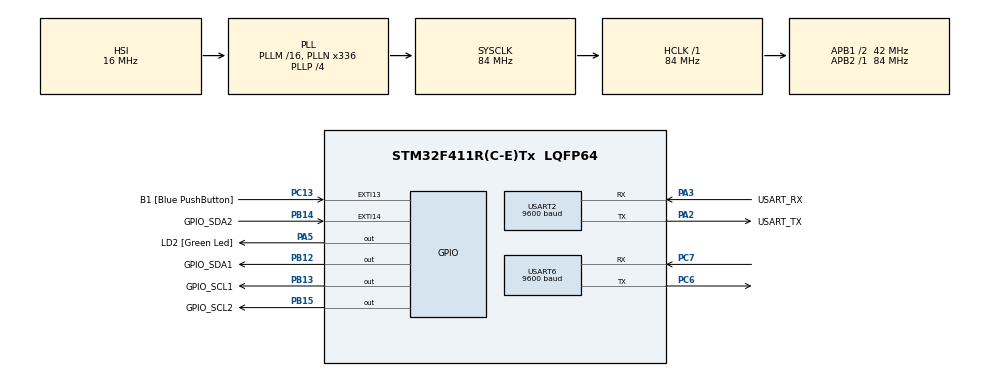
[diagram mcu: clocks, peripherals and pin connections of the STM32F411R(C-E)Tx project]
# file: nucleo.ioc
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Mcu.Family=STM32F4
Mcu.Name=STM32F411R(C-E)Tx
Mcu.Package=LQFP64
NVIC.PriorityGroup=NVIC_PRIORITYGROUP_0
NVIC.TIM1_BRK_TIM9_IRQn=true\:0\:0\:false\:true\:true\:6\:true\:true\:true
NVIC.TIM1_CC_IRQn=true\:0\:0\:false\:true\:true\:3\:true\:true\:true
NVIC.TIM1_TRG_COM_TIM11_IRQn=true\:0\:0\:false\:true\:true\:4\:true\:true\:true
NVIC.TIM1_UP_TIM10_IRQn=true\:0\:0\:false\:true\:true\:5\:true\:true\:true
NVIC.USART2_IRQn=true\:0\:0\:false\:true\:true\:1\:true\:true\:true
NVIC.USART6_IRQn=true\:0\:0\:false\:true\:true\:2\:true\:true\:true
PA13.GPIO_Label=TMS
PA13.Mode=Serial_Wire
PA13.Signal=SYS_JTMS-SWDIO
PA14.GPIO_Label=TCK
PA14.Mode=Serial_Wire
PA14.Signal=SYS_JTCK-SWCLK
PA2.GPIO_Label=USART_TX
PA2.Mode=Asynchronous
PA2.Signal=USART2_TX
PA3.GPIO_Label=USART_RX
PA3.Mode=Asynchronous
PA3.Signal=USART2_RX
PA5.GPIO_Label=LD2 [Green Led]
PA5.Signal=GPIO_Output
PB12.GPIO_Label=GPIO_SDA1
PB12.Signal=GPIO_Output
PB13.GPIO_Label=GPIO_SCL1
PB13.Signal=GPIO_Output
PB14.GPIO_Label=GPIO_SDA2
PB14.Signal=GPXTI14
PB15.GPIO_Label=GPIO_SCL2
PB15.Signal=GPIO_Output
PB3.GPIO_Label=SWO
PB3.Signal=SYS_JTDO-SWO
PC13-ANTI_TAMP.GPIO_Label=B1 [Blue PushButton]
PC13-ANTI_TAMP.GPIO_ModeDefaultEXTI=GPIO_MODE_IT_FALLING
PC13-ANTI_TAMP.Signal=GPXTI13
PC14-OSC32_IN.Mode=LSE-External-Oscillator
PC14-OSC32_IN.Signal=RCC_OSC32_IN
PC15-OSC32_OUT.Mode=LSE-External-Oscillator
PC15-OSC32_OUT.Signal=RCC_OSC32_OUT
PC6.Mode=Asynchronous
PC6.Signal=USART6_TX
PC7.Mode=Asynchronous
PC7.Signal=USART6_RX
PH0\ -\ OSC_IN.Mode=HSE-External-Clock-Source
PH0\ -\ OSC_IN.Signal=RCC_OSC_IN
PH1\ -\ OSC_OUT.Mode=HSE-External-Clock-Source
PH1\ -\ OSC_OUT.Signal=RCC_OSC_OUT
ProjectManager.HeapSize=0x200
ProjectManager.StackSize=0x400
ProjectManager.TargetToolchain=STM32CubeIDE
RCC.48MHZClocksFreq_Value=84000000
RCC.AHBFreq_Value=84000000
RCC.APB1CLKDivider=RCC_HCLK_DIV2
RCC.APB1Freq_Value=42000000
RCC.APB1TimFreq_Value=84000000
RCC.APB2Freq_Value=84000000
RCC.APB2TimFreq_Value=84000000
RCC.CortexFreq_Value=84000000
RCC.FLatency-AdvancedSettings=FLASH_LATENCY_2
RCC.HCLKFreq_Value=84000000
RCC.HSE_VALUE=8000000
RCC.HSI_VALUE=16000000
RCC.PLLN=336
RCC.PLLP=RCC_PLLP_DIV4
RCC.SYSCLKFreq_VALUE=84000000
RCC.SYSCLKSource=RCC_SYSCLKSOURCE_PLLCLK
RCC.VCOOutputFreq_Value=336000000
TIM1.Period=100-1
TIM1.Prescaler=840-1
USART2.BaudRate=9600
USART2.VirtualMode=VM_ASYNC
USART6.BaudRate=9600
USART6.VirtualMode=VM_ASYNC
VP_TIM1_VS_ClockSourceINT.Mode=Internal
board=NUCLEO-F411RE

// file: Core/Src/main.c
/* USER CODE BEGIN Header */
/**
  ******************************************************************************
  * @file           : main.c
  * @brief          : Main program body
  ******************************************************************************
  * @attention
  *
  * <h2><center>&copy; Copyright (c) 2022 STMicroelectronics.
  * All rights reserved.</center></h2>
  *
  * This software component is licensed by ST under BSD 3-Clause license,
  * the "License"; You may not use this file except in compliance with the
  * License. You may obtain a copy of the License at:
  *                        opensource.org/licenses/BSD-3-Clause
  *
  ******************************************************************************
  */
/* USER CODE END Header */
#include "main.h"

/* USER CODE BEGIN Includes */
#include "Modbus.h"
#include "CoilReg_Table.h"
/* USER CODE END Includes */

TIM_HandleTypeDef htim1;

UART_HandleTypeDef huart2;
UART_HandleTypeDef huart6;

void SystemClock_Config(void);
static void MX_GPIO_Init(void);
static void MX_TIM1_Init(void);
static void MX_USART6_UART_Init(void);
static void MX_USART2_UART_Init(void);
static void MX_NVIC_Init(void);
/* USER CODE BEGIN PFP */
extern uint8_t RX_Data;
/* USER CODE END PFP */

/* USER CODE BEGIN 0 */
/*prinf-----------------------------------------------------------------------*/
#ifdef __GNUC__
/* With GCC, small printf (option LD Linker->Libraries->Small printf
   set to 'Yes') calls __io_putchar() */
#define PUTCHAR_PROTOTYPE int __io_putchar(int ch)
#else
#define PUTCHAR_PROTOTYPE int fputc(int ch, FILE *f)
#endif /* __GNUC__ */
PUTCHAR_PROTOTYPE
{
  /* Place your implementation of fputc here */
  /* e.g. write a character to the USART3 and Loop until the end of transmission */
  HAL_UART_Transmit(&huart2, (uint8_t *)&ch, 1, 0xFFFF);

  return ch;

}

/* USER CODE END 0 */

int main(void)
{

  /* MCU Configuration--------------------------------------------------------*/

  /* Reset of all peripherals, Initializes the Flash interface and the Systick. */
  HAL_Init();

  /* Configure the system clock */
  SystemClock_Config();

  /* Initialize all configured peripherals */
  MX_GPIO_Init();
  MX_TIM1_Init();
  MX_USART6_UART_Init();
  MX_USART2_UART_Init();

  /* Initialize interrupts */
  MX_NVIC_Init();
  /* USER CODE BEGIN 2 */
  HAL_UART_Receive_IT(&huart2, &RX_Data, 1);
  SW_I2C_initial();
  i2c_port_initial(2);
  //MPU6050_Init(2);
//  HAL_Delay(500);

  printf("UART2!!\n");
  /* USER CODE END 2 */

  /* Infinite loop */
  /* USER CODE BEGIN WHILE */
  while (1)
  {
	 uint8_t sel = 2U;
	 uint8_t dev_addr = GYRO_DEV;
	 uint8_t reg = 0x3B;
	 uint8_t returnack = 0U;

    /* USER CODE END WHILE */
	  //ReadI2C(2);
	 MPU6050_Read_Accel(sel, GYRO_DEV);

	 //SW_I2C_WriteControl_8Bit_OnlyRegAddr(2, dev_addr|0x00, reg);

//	 i2c_start_condition(sel);
//
//	 SW_I2C_Write_Data(sel,(uint8_t)dev_addr|0x00);
//	 if (!i2c_check_ack(sel))
//	 {
//		 printf("NOT ACK\n");
//		 returnack = FALSE;
//	 }
//
//	 SW_I2C_Write_Data(sel,(uint8_t)reg);
//
//	 if (!i2c_check_ack(sel))
//	 {
//		 printf("NOT ACK\n");
//		 returnack = FALSE;
//	 }
//
//	 i2c_stop_condition(sel);
//
	 HAL_Delay(500);
  }
}

void SystemClock_Config(void)
{
  RCC_OscInitTypeDef RCC_OscInitStruct = {0};
  RCC_ClkInitTypeDef RCC_ClkInitStruct = {0};

  /** Configure the main internal regulator output voltage
  */
  __HAL_RCC_PWR_CLK_ENABLE();
  __HAL_PWR_VOLTAGESCALING_CONFIG(PWR_REGULATOR_VOLTAGE_SCALE1);
  /** Initializes the RCC Oscillators according to the specified parameters
  * in the RCC_OscInitTypeDef structure.
  */
  RCC_OscInitStruct.OscillatorType = RCC_OSCILLATORTYPE_HSI;
  RCC_OscInitStruct.HSIState = RCC_HSI_ON;
  RCC_OscInitStruct.HSICalibrationValue = RCC_HSICALIBRATION_DEFAULT;
  RCC_OscInitStruct.PLL.PLLState = RCC_PLL_ON;
  RCC_OscInitStruct.PLL.PLLSource = RCC_PLLSOURCE_HSI;
  RCC_OscInitStruct.PLL.PLLM = 16;
  RCC_OscInitStruct.PLL.PLLN = 336;
  RCC_OscInitStruct.PLL.PLLP = RCC_PLLP_DIV4;
  RCC_OscInitStruct.PLL.PLLQ = 4;
  if (HAL_RCC_OscConfig(&RCC_OscInitStruct) != HAL_OK)
  {
    Error_Handler();
  }
  /** Initializes the CPU, AHB and APB buses clocks
  */
  RCC_ClkInitStruct.ClockType = RCC_CLOCKTYPE_HCLK|RCC_CLOCKTYPE_SYSCLK
                              |RCC_CLOCKTYPE_PCLK1|RCC_CLOCKTYPE_PCLK2;
  RCC_ClkInitStruct.SYSCLKSource = RCC_SYSCLKSOURCE_PLLCLK;
  RCC_ClkInitStruct.AHBCLKDivider = RCC_SYSCLK_DIV1;
  RCC_ClkInitStruct.APB1CLKDivider = RCC_HCLK_DIV2;
  RCC_ClkInitStruct.APB2CLKDivider = RCC_HCLK_DIV1;

  if (HAL_RCC_ClockConfig(&RCC_ClkInitStruct, FLASH_LATENCY_2) != HAL_OK)
  {
    Error_Handler();
  }
}

/**
  * @brief NVIC Configuration.
  * @retval None
  */
static void MX_NVIC_Init(void)
{
  /* USART2_IRQn interrupt configuration */
  HAL_NVIC_SetPriority(USART2_IRQn, 0, 0);
  HAL_NVIC_EnableIRQ(USART2_IRQn);
  /* USART6_IRQn interrupt configuration */
  HAL_NVIC_SetPriority(USART6_IRQn, 0, 0);
  HAL_NVIC_EnableIRQ(USART6_IRQn);
  /* TIM1_CC_IRQn interrupt configuration */
  HAL_NVIC_SetPriority(TIM1_CC_IRQn, 0, 0);
  HAL_NVIC_EnableIRQ(TIM1_CC_IRQn);
  /* TIM1_TRG_COM_TIM11_IRQn interrupt configuration */
  HAL_NVIC_SetPriority(TIM1_TRG_COM_TIM11_IRQn, 0, 0);
  HAL_NVIC_EnableIRQ(TIM1_TRG_COM_TIM11_IRQn);
  /* TIM1_UP_TIM10_IRQn interrupt configuration */
  HAL_NVIC_SetPriority(TIM1_UP_TIM10_IRQn, 0, 0);
  HAL_NVIC_EnableIRQ(TIM1_UP_TIM10_IRQn);
  /* TIM1_BRK_TIM9_IRQn interrupt configuration */
  HAL_NVIC_SetPriority(TIM1_BRK_TIM9_IRQn, 0, 0);
  HAL_NVIC_EnableIRQ(TIM1_BRK_TIM9_IRQn);
}

static void MX_TIM1_Init(void)
{

  TIM_ClockConfigTypeDef sClockSourceConfig = {0};
  TIM_MasterConfigTypeDef sMasterConfig = {0};

  htim1.Instance = TIM1;
  htim1.Init.Prescaler = 840-1;
  htim1.Init.CounterMode = TIM_COUNTERMODE_UP;
  htim1.Init.Period = 100-1;
  htim1.Init.ClockDivision = TIM_CLOCKDIVISION_DIV1;
  htim1.Init.RepetitionCounter = 0;
  htim1.Init.AutoReloadPreload = TIM_AUTORELOAD_PRELOAD_DISABLE;
  if (HAL_TIM_Base_Init(&htim1) != HAL_OK)
  {
    Error_Handler();
  }
  sClockSourceConfig.ClockSource = TIM_CLOCKSOURCE_INTERNAL;
  if (HAL_TIM_ConfigClockSource(&htim1, &sClockSourceConfig) != HAL_OK)
  {
    Error_Handler();
  }
  sMasterConfig.MasterOutputTrigger = TIM_TRGO_RESET;
  sMasterConfig.MasterSlaveMode = TIM_MASTERSLAVEMODE_DISABLE;
  if (HAL_TIMEx_MasterConfigSynchronization(&htim1, &sMasterConfig) != HAL_OK)
  {
    Error_Handler();
  }

}

static void MX_USART2_UART_Init(void)
{

  huart2.Instance = USART2;
  huart2.Init.BaudRate = 9600;
  huart2.Init.WordLength = UART_WORDLENGTH_8B;
  huart2.Init.StopBits = UART_STOPBITS_1;
  huart2.Init.Parity = UART_PARITY_NONE;
  huart2.Init.Mode = UART_MODE_TX_RX;
  huart2.Init.HwFlowCtl = UART_HWCONTROL_NONE;
  huart2.Init.OverSampling = UART_OVERSAMPLING_16;
  if (HAL_UART_Init(&huart2) != HAL_OK)
  {
    Error_Handler();
  }

}

static void MX_USART6_UART_Init(void)
{

  huart6.Instance = USART6;
  huart6.Init.BaudRate = 9600;
  huart6.Init.WordLength = UART_WORDLENGTH_8B;
  huart6.Init.StopBits = UART_STOPBITS_1;
  huart6.Init.Parity = UART_PARITY_NONE;
  huart6.Init.Mode = UART_MODE_TX_RX;
  huart6.Init.HwFlowCtl = UART_HWCONTROL_NONE;
  huart6.Init.OverSampling = UART_OVERSAMPLING_16;
  if (HAL_UART_Init(&huart6) != HAL_OK)
  {
    Error_Handler();
  }

}

static void MX_GPIO_Init(void)
{
  GPIO_InitTypeDef GPIO_InitStruct = {0};

  /* GPIO Ports Clock Enable */
  __HAL_RCC_GPIOC_CLK_ENABLE();
  __HAL_RCC_GPIOH_CLK_ENABLE();
  __HAL_RCC_GPIOA_CLK_ENABLE();
  __HAL_RCC_GPIOB_CLK_ENABLE();

  /*Configure GPIO pin Output Level */
  HAL_GPIO_WritePin(LD2_GPIO_Port, LD2_Pin, GPIO_PIN_RESET);

  /*Configure GPIO pin Output Level */
  HAL_GPIO_WritePin(GPIOB, GPIO_SDA1_Pin|GPIO_SCL1_Pin|GPIO_SCL2_Pin, GPIO_PIN_RESET);

  /*Configure GPIO pin : B1_Pin */
  GPIO_InitStruct.Pin = B1_Pin;
  GPIO_InitStruct.Mode = GPIO_MODE_IT_FALLING;
  GPIO_InitStruct.Pull = GPIO_NOPULL;
  HAL_GPIO_Init(B1_GPIO_Port, &GPIO_InitStruct);

  /*Configure GPIO pin : LD2_Pin */
  GPIO_InitStruct.Pin = LD2_Pin;
  GPIO_InitStruct.Mode = GPIO_MODE_OUTPUT_PP;
  GPIO_InitStruct.Pull = GPIO_NOPULL;
  GPIO_InitStruct.Speed = GPIO_SPEED_FREQ_LOW;
  HAL_GPIO_Init(LD2_GPIO_Port, &GPIO_InitStruct);

  /*Configure GPIO pins : GPIO_SDA1_Pin GPIO_SCL1_Pin GPIO_SCL2_Pin */
  GPIO_InitStruct.Pin = GPIO_SDA1_Pin|GPIO_SCL1_Pin|GPIO_SCL2_Pin;
  GPIO_InitStruct.Mode = GPIO_MODE_OUTPUT_PP;
  GPIO_InitStruct.Pull = GPIO_NOPULL;
  GPIO_InitStruct.Speed = GPIO_SPEED_FREQ_LOW;
  HAL_GPIO_Init(GPIOB, &GPIO_InitStruct);

  /*Configure GPIO pin : GPIO_SDA2_Pin */
  GPIO_InitStruct.Pin = GPIO_SDA2_Pin;
  GPIO_InitStruct.Mode = GPIO_MODE_IT_RISING;
  GPIO_InitStruct.Pull = GPIO_NOPULL;
  HAL_GPIO_Init(GPIO_SDA2_GPIO_Port, &GPIO_InitStruct);

}

void Error_Handler(void)
{
  __disable_irq();
  while (1)
  {
  }
}

/************************ (C) COPYRIGHT STMicroelectronics *****END OF FILE****/
